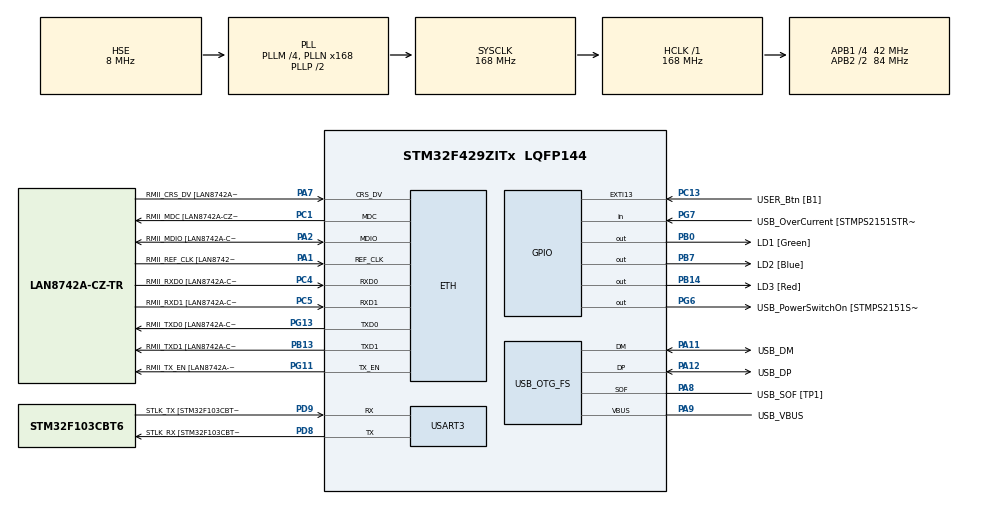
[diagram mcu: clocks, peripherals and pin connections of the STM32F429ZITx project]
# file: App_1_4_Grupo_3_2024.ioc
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ETH.MediaInterface=HAL_ETH_RMII_MODE
ETH.PHY_Name=LAN8742A_PHY_ADDRESS
ETH.PHY_Value=0
ETH.PhyAddress=0
Mcu.Family=STM32F4
Mcu.Name=STM32F429ZITx
Mcu.Package=LQFP144
NVIC.PriorityGroup=NVIC_PRIORITYGROUP_4
PA1.GPIO_Label=RMII_REF_CLK [LAN8742A-CZ-TR_REFCLK0]
PA1.Mode=RMII
PA1.Signal=ETH_REF_CLK
PA10.GPIO_Label=USB_ID
PA10.Signal=USB_OTG_FS_ID
PA11.GPIO_Label=USB_DM
PA11.Mode=Device_Only
PA11.Signal=USB_OTG_FS_DM
PA12.GPIO_Label=USB_DP
PA12.Mode=Device_Only
PA12.Signal=USB_OTG_FS_DP
PA13.GPIO_Label=TMS
PA13.Mode=Serial_Wire
PA13.Signal=SYS_JTMS-SWDIO
PA14.GPIO_Label=TCK
PA14.Mode=Serial_Wire
PA14.Signal=SYS_JTCK-SWCLK
PA2.GPIO_Label=RMII_MDIO [LAN8742A-CZ-TR_MDIO]
PA2.Mode=RMII
PA2.Signal=ETH_MDIO
PA7.GPIO_Label=RMII_CRS_DV [LAN8742A-CZ-TR_CRS_DV]
PA7.Mode=RMII
PA7.Signal=ETH_CRS_DV
PA8.GPIO_Label=USB_SOF [TP1]
PA8.Mode=Activate_SOF_FS
PA8.Signal=USB_OTG_FS_SOF
PA9.GPIO_Label=USB_VBUS
PA9.Mode=Activate_VBUS
PA9.Signal=USB_OTG_FS_VBUS
PB0.GPIO_Label=LD1 [Green]
PB0.Signal=GPIO_Output
PB13.GPIO_Label=RMII_TXD1 [LAN8742A-CZ-TR_TXD1]
PB13.Mode=RMII
PB13.Signal=ETH_TXD1
PB14.GPIO_Label=LD3 [Red]
PB14.Signal=GPIO_Output
PB7.GPIO_Label=LD2 [Blue]
PB7.Signal=GPIO_Output
PC1.GPIO_Label=RMII_MDC [LAN8742A-CZ-TR_MDC]
PC1.Mode=RMII
PC1.Signal=ETH_MDC
PC13.GPIO_Label=USER_Btn [B1]
PC13.Signal=GPXTI13
PC14/OSC32_IN.Mode=LSE-External-Oscillator
PC14/OSC32_IN.Signal=RCC_OSC32_IN
PC15/OSC32_OUT.Mode=LSE-External-Oscillator
PC15/OSC32_OUT.Signal=RCC_OSC32_OUT
PC4.GPIO_Label=RMII_RXD0 [LAN8742A-CZ-TR_RXD0]
PC4.Mode=RMII
PC4.Signal=ETH_RXD0
PC5.GPIO_Label=RMII_RXD1 [LAN8742A-CZ-TR_RXD1]
PC5.Mode=RMII
PC5.Signal=ETH_RXD1
PD8.GPIO_Label=STLK_RX [STM32F103CBT6_PA3]
PD8.Mode=Asynchronous
PD8.Signal=USART3_TX
PD9.GPIO_Label=STLK_TX [STM32F103CBT6_PA2]
PD9.Mode=Asynchronous
PD9.Signal=USART3_RX
PG11.GPIO_Label=RMII_TX_EN [LAN8742A-CZ-TR_TXEN]
PG11.Mode=RMII
PG11.Signal=ETH_TX_EN
PG13.GPIO_Label=RMII_TXD0 [LAN8742A-CZ-TR_TXD0]
PG13.Mode=RMII
PG13.Signal=ETH_TXD0
PG6.GPIO_Label=USB_PowerSwitchOn [STMPS2151STR_EN]
PG6.Signal=GPIO_Output
PG7.GPIO_Label=USB_OverCurrent [STMPS2151STR_FAULT]
PG7.Signal=GPIO_Input
PH0/OSC_IN.GPIO_Label=MCO [STM32F103CBT6_PA8]
PH0/OSC_IN.Mode=HSE-External-Clock-Source
PH0/OSC_IN.Signal=RCC_OSC_IN
PH1/OSC_OUT.Mode=HSE-External-Clock-Source
PH1/OSC_OUT.Signal=RCC_OSC_OUT
ProjectManager.HeapSize=0x200
ProjectManager.StackSize=0x400
ProjectManager.TargetToolchain=STM32CubeIDE
RCC.48MHZClocksFreq_Value=48000000
RCC.AHBFreq_Value=168000000
RCC.APB1CLKDivider=RCC_HCLK_DIV4
RCC.APB1Freq_Value=42000000
RCC.APB1TimFreq_Value=84000000
RCC.APB2CLKDivider=RCC_HCLK_DIV2
RCC.APB2Freq_Value=84000000
RCC.APB2TimCLKDivider=2
RCC.APB2TimFreq_Value=168000000
RCC.CortexFreq_Value=168000000
RCC.HCLKFreq_Value=168000000
RCC.HSE_VALUE=8000000
RCC.HSI_VALUE=16000000
RCC.PLLM=4
RCC.PLLMUL=RCC_PLL_MUL9
RCC.PLLN=168
RCC.PLLQ=7
RCC.PRESCALERUSB=RCC_USBCLKSOURCE_PLL_DIV1_5
RCC.SYSCLKFreq_VALUE=168000000
RCC.SYSCLKSource=RCC_SYSCLKSOURCE_PLLCLK
RCC.SYSCLKSourceVirtual=RCC_SYSCLKSOURCE_PLLCLK
RCC.USBFreq_Value=48000000
RCC.VCOOutputFreq_Value=336000000
USART3.VirtualMode=VM_ASYNC
USB_OTG_FS.VirtualMode=Device_Only
board=NUCLEO-F429ZI

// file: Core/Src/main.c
/* USER CODE BEGIN Header */
/**
  ******************************************************************************
  * @file           : main.c
  * @brief          : Main program body
  ******************************************************************************
  * @attention
  *
  * Copyright (c) 2024 STMicroelectronics.
  * All rights reserved.
  *
  * This software is licensed under terms that can be found in the LICENSE file
  * in the root directory of this software component.
  * If no LICENSE file comes with this software, it is provided AS-IS.
  *
  ******************************************************************************
  */
/* USER CODE END Header */
#include "main.h"
#include "string.h"

ETH_TxPacketConfig TxConfig;
ETH_DMADescTypeDef  DMARxDscrTab[ETH_RX_DESC_CNT]; /* Ethernet Rx DMA Descriptors */
ETH_DMADescTypeDef  DMATxDscrTab[ETH_TX_DESC_CNT]; /* Ethernet Tx DMA Descriptors */

ETH_HandleTypeDef heth;

UART_HandleTypeDef huart3;

PCD_HandleTypeDef hpcd_USB_OTG_FS;

void SystemClock_Config(void);
static void MX_GPIO_Init(void);
static void MX_ETH_Init(void);
static void MX_USART3_UART_Init(void);
static void MX_USB_OTG_FS_PCD_Init(void);

int main(void)
{

  /* MCU Configuration--------------------------------------------------------*/

  /* Reset of all peripherals, Initializes the Flash interface and the Systick. */
  HAL_Init();

  /* Configure the system clock */
  SystemClock_Config();

  /* Initialize all configured peripherals */
  MX_GPIO_Init();
  MX_ETH_Init();
  MX_USART3_UART_Init();
  MX_USB_OTG_FS_PCD_Init();
  /* USER CODE BEGIN 2 */

  uint16_t vector_Pin_LEDs[CANTIDAD_LEDS] = {LD1_Pin, LD2_Pin, LD3_Pin};
  uint16_t vector_frecuencias[OPCIONES_FRECUENCIAS] = {100, 250, 500, 1000};
  uint8_t opcion = 0;

  /* USER CODE END 2 */

  /* Infinite loop */
  /* USER CODE BEGIN WHILE */
  while (1)
  {
	  opcion = secuencia(vector_Pin_LEDs, vector_frecuencias[opcion], opcion);

    /* USER CODE END WHILE */

  }
}

void SystemClock_Config(void)
{
  RCC_OscInitTypeDef RCC_OscInitStruct = {0};
  RCC_ClkInitTypeDef RCC_ClkInitStruct = {0};

  /** Configure the main internal regulator output voltage
  */
  __HAL_RCC_PWR_CLK_ENABLE();
  __HAL_PWR_VOLTAGESCALING_CONFIG(PWR_REGULATOR_VOLTAGE_SCALE1);

  /** Initializes the RCC Oscillators according to the specified parameters
  * in the RCC_OscInitTypeDef structure.
  */
  RCC_OscInitStruct.OscillatorType = RCC_OSCILLATORTYPE_HSE;
  RCC_OscInitStruct.HSEState = RCC_HSE_BYPASS;
  RCC_OscInitStruct.PLL.PLLState = RCC_PLL_ON;
  RCC_OscInitStruct.PLL.PLLSource = RCC_PLLSOURCE_HSE;
  RCC_OscInitStruct.PLL.PLLM = 4;
  RCC_OscInitStruct.PLL.PLLN = 168;
  RCC_OscInitStruct.PLL.PLLP = RCC_PLLP_DIV2;
  RCC_OscInitStruct.PLL.PLLQ = 7;
  if (HAL_RCC_OscConfig(&RCC_OscInitStruct) != HAL_OK)
  {
    Error_Handler();
  }

  /** Initializes the CPU, AHB and APB buses clocks
  */
  RCC_ClkInitStruct.ClockType = RCC_CLOCKTYPE_HCLK|RCC_CLOCKTYPE_SYSCLK
                              |RCC_CLOCKTYPE_PCLK1|RCC_CLOCKTYPE_PCLK2;
  RCC_ClkInitStruct.SYSCLKSource = RCC_SYSCLKSOURCE_PLLCLK;
  RCC_ClkInitStruct.AHBCLKDivider = RCC_SYSCLK_DIV1;
  RCC_ClkInitStruct.APB1CLKDivider = RCC_HCLK_DIV4;
  RCC_ClkInitStruct.APB2CLKDivider = RCC_HCLK_DIV2;

  if (HAL_RCC_ClockConfig(&RCC_ClkInitStruct, FLASH_LATENCY_5) != HAL_OK)
  {
    Error_Handler();
  }
}

static void MX_ETH_Init(void)
{

   static uint8_t MACAddr[6];

  heth.Instance = ETH;
  MACAddr[0] = 0x00;
  MACAddr[1] = 0x80;
  MACAddr[2] = 0xE1;
  MACAddr[3] = 0x00;
  MACAddr[4] = 0x00;
  MACAddr[5] = 0x00;
  heth.Init.MACAddr = &MACAddr[0];
  heth.Init.MediaInterface = HAL_ETH_RMII_MODE;
  heth.Init.TxDesc = DMATxDscrTab;
  heth.Init.RxDesc = DMARxDscrTab;
  heth.Init.RxBuffLen = 1524;

  if (HAL_ETH_Init(&heth) != HAL_OK)
  {
    Error_Handler();
  }

  memset(&TxConfig, 0 , sizeof(ETH_TxPacketConfig));
  TxConfig.Attributes = ETH_TX_PACKETS_FEATURES_CSUM | ETH_TX_PACKETS_FEATURES_CRCPAD;
  TxConfig.ChecksumCtrl = ETH_CHECKSUM_IPHDR_PAYLOAD_INSERT_PHDR_CALC;
  TxConfig.CRCPadCtrl = ETH_CRC_PAD_INSERT;

}

static void MX_USART3_UART_Init(void)
{

  huart3.Instance = USART3;
  huart3.Init.BaudRate = 115200;
  huart3.Init.WordLength = UART_WORDLENGTH_8B;
  huart3.Init.StopBits = UART_STOPBITS_1;
  huart3.Init.Parity = UART_PARITY_NONE;
  huart3.Init.Mode = UART_MODE_TX_RX;
  huart3.Init.HwFlowCtl = UART_HWCONTROL_NONE;
  huart3.Init.OverSampling = UART_OVERSAMPLING_16;
  if (HAL_UART_Init(&huart3) != HAL_OK)
  {
    Error_Handler();
  }

}

static void MX_USB_OTG_FS_PCD_Init(void)
{

  hpcd_USB_OTG_FS.Instance = USB_OTG_FS;
  hpcd_USB_OTG_FS.Init.dev_endpoints = 4;
  hpcd_USB_OTG_FS.Init.speed = PCD_SPEED_FULL;
  hpcd_USB_OTG_FS.Init.dma_enable = DISABLE;
  hpcd_USB_OTG_FS.Init.phy_itface = PCD_PHY_EMBEDDED;
  hpcd_USB_OTG_FS.Init.Sof_enable = ENABLE;
  hpcd_USB_OTG_FS.Init.low_power_enable = DISABLE;
  hpcd_USB_OTG_FS.Init.lpm_enable = DISABLE;
  hpcd_USB_OTG_FS.Init.vbus_sensing_enable = ENABLE;
  hpcd_USB_OTG_FS.Init.use_dedicated_ep1 = DISABLE;
  if (HAL_PCD_Init(&hpcd_USB_OTG_FS) != HAL_OK)
  {
    Error_Handler();
  }

}

static void MX_GPIO_Init(void)
{
  GPIO_InitTypeDef GPIO_InitStruct = {0};

  /* GPIO Ports Clock Enable */
  __HAL_RCC_GPIOC_CLK_ENABLE();
  __HAL_RCC_GPIOH_CLK_ENABLE();
  __HAL_RCC_GPIOA_CLK_ENABLE();
  __HAL_RCC_GPIOB_CLK_ENABLE();
  __HAL_RCC_GPIOD_CLK_ENABLE();
  __HAL_RCC_GPIOG_CLK_ENABLE();

  /*Configure GPIO pin Output Level */
  HAL_GPIO_WritePin(GPIOB, LD1_Pin|LD3_Pin|LD2_Pin, GPIO_PIN_RESET);

  /*Configure GPIO pin Output Level */
  HAL_GPIO_WritePin(USB_PowerSwitchOn_GPIO_Port, USB_PowerSwitchOn_Pin, GPIO_PIN_RESET);

  /*Configure GPIO pin : USER_Btn_Pin */
  GPIO_InitStruct.Pin = USER_Btn_Pin;
  GPIO_InitStruct.Mode = GPIO_MODE_IT_RISING;
  GPIO_InitStruct.Pull = GPIO_NOPULL;
  HAL_GPIO_Init(USER_Btn_GPIO_Port, &GPIO_InitStruct);

  /*Configure GPIO pins : LD1_Pin LD3_Pin LD2_Pin */
  GPIO_InitStruct.Pin = LD1_Pin|LD3_Pin|LD2_Pin;
  GPIO_InitStruct.Mode = GPIO_MODE_OUTPUT_PP;
  GPIO_InitStruct.Pull = GPIO_NOPULL;
  GPIO_InitStruct.Speed = GPIO_SPEED_FREQ_LOW;
  HAL_GPIO_Init(GPIOB, &GPIO_InitStruct);

  /*Configure GPIO pin : USB_PowerSwitchOn_Pin */
  GPIO_InitStruct.Pin = USB_PowerSwitchOn_Pin;
  GPIO_InitStruct.Mode = GPIO_MODE_OUTPUT_PP;
  GPIO_InitStruct.Pull = GPIO_NOPULL;
  GPIO_InitStruct.Speed = GPIO_SPEED_FREQ_LOW;
  HAL_GPIO_Init(USB_PowerSwitchOn_GPIO_Port, &GPIO_InitStruct);

  /*Configure GPIO pin : USB_OverCurrent_Pin */
  GPIO_InitStruct.Pin = USB_OverCurrent_Pin;
  GPIO_InitStruct.Mode = GPIO_MODE_INPUT;
  GPIO_InitStruct.Pull = GPIO_NOPULL;
  HAL_GPIO_Init(USB_OverCurrent_GPIO_Port, &GPIO_InitStruct);

}

/* USER CODE BEGIN 4 */

uint8_t secuencia(uint16_t* vector_Pin_LEDs, uint16_t frecuencia, uint8_t opcion){
	/*TIEMPO DE ENCENDIDO*/
	for(int tick=0;tick<(frecuencia/2);tick++){
		if(HAL_GPIO_ReadPin(USER_Btn_GPIO_Port, USER_Btn_Pin) == GPIO_PIN_SET){
			while(HAL_GPIO_ReadPin(USER_Btn_GPIO_Port, USER_Btn_Pin) == GPIO_PIN_SET){}; //Antirebote por SW
			for(int i=0;i<CANTIDAD_LEDS;i++){
				HAL_GPIO_WritePin(GPIOB, vector_Pin_LEDs[i], GPIO_PIN_RESET);
			}
			if(opcion != 3){
				return (opcion+1);
			}else{
				return 0;
			}
		}
		for(int j=0;j<CANTIDAD_LEDS;j++){
			HAL_GPIO_WritePin(GPIOB, vector_Pin_LEDs[j], GPIO_PIN_SET);
		}
		HAL_Delay(1);
	}
	/*TIEMPO DE APAGADO*/
	for(int tick=0;tick<(frecuencia/2);tick++){
		if(HAL_GPIO_ReadPin(USER_Btn_GPIO_Port, USER_Btn_Pin) == GPIO_PIN_SET){
			while(HAL_GPIO_ReadPin(USER_Btn_GPIO_Port, USER_Btn_Pin) == GPIO_PIN_SET){};
			for(int i=0;i<CANTIDAD_LEDS;i++){
				HAL_GPIO_WritePin(GPIOB, vector_Pin_LEDs[i], GPIO_PIN_RESET);
			}
			if(opcion != 3){
				return (opcion+1);
			}else{
				return 0;
			}
		}
		for(int j=0;j<CANTIDAD_LEDS;j++){
			HAL_GPIO_WritePin(GPIOB, vector_Pin_LEDs[j], GPIO_PIN_RESET);
		}
		HAL_Delay(1);
	}
	return opcion;
}

/* USER CODE END 4 */

void Error_Handler(void)
{
  __disable_irq();
  while (1)
  {
  }
}
